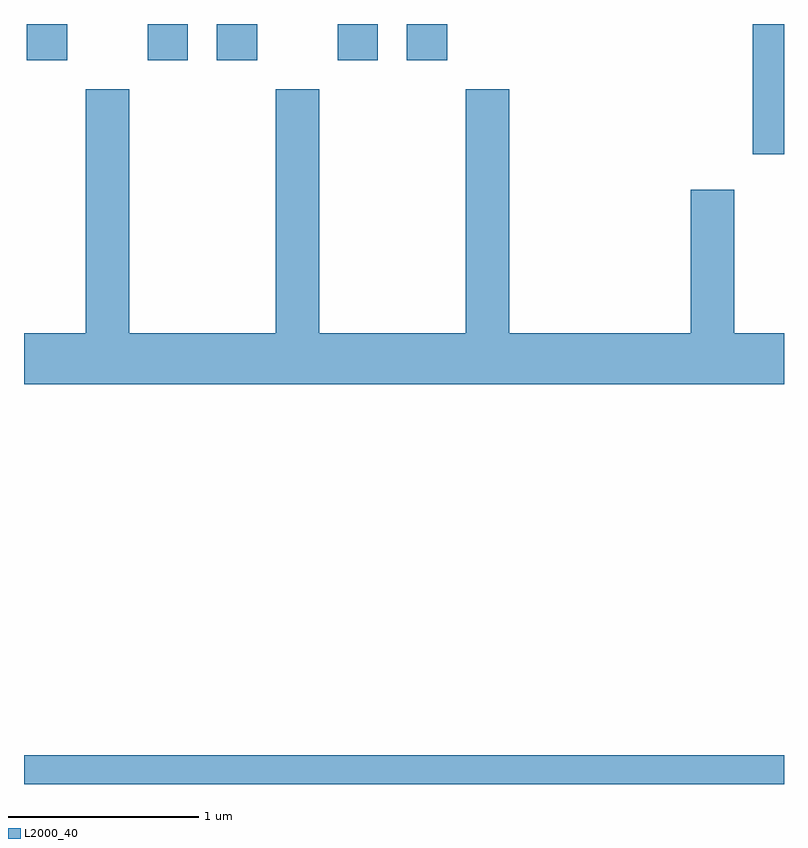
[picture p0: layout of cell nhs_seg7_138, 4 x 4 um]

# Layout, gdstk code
import gdstk
lib = gdstk.Library(unit=1e-6, precision=1e-09)
def R(c, l, rs):  # rectangles x0, y0, x1, y1
    for r in rs: c.add(gdstk.rectangle(r[:2], r[2:], *l))
def P(c, l, *ps):  # polygons
    for p in ps: c.add(gdstk.Polygon(p, *l))
L2000_40 = (2000, 40)

nhs_seg7_138 = lib.new_cell('nhs_seg7_138')
R(nhs_seg7_138, L2000_40, [(189.611,1672.252,193.611,1672.404), (193.446,1675.566,193.611,1676.252), (189.626,1676.061,189.839,1676.252), (190.261,1676.061,190.474,1676.252), (190.626,1676.061,190.839,1676.252), (191.261,1676.061,191.474,1676.252), (191.626,1676.061,191.839,1676.252)])
P(nhs_seg7_138, L2000_40, [(193.611,1674.624),(193.349,1674.624),(193.349,1675.379),(193.121,1675.379),(193.121,1674.624),(192.164,1674.624),(192.164,1675.909),(191.936,1675.909),(191.936,1674.624),(191.164,1674.624),(191.164,1675.909),(190.936,1675.909),(190.936,1674.624),(190.164,1674.624),(190.164,1675.909),(189.936,1675.909),(189.936,1674.624),(189.611,1674.624),(189.611,1674.356),(193.611,1674.356)])

lib.write_gds('nhs_seg7_138.gds')
